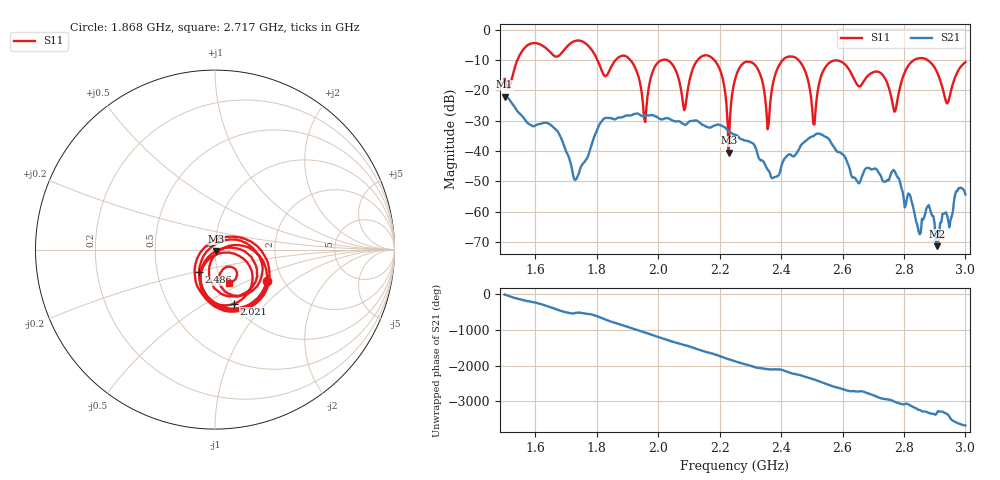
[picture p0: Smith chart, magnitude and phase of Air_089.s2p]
# HZ S RI R 50
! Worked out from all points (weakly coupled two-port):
!   404 points, 1.5 GHz to 3 GHz, reference 50 ohm
!   highest |S21| = -22.09 dB at 1.5 GHz (marker M1); lowest = -71.3 dB at 2.907 GHz (marker M2)
!   lowest |S11| = -40.5 dB at 2.23 GHz (marker M3), VSWR 1.02, Z = 50.6 - j0.768 ohm
!   |S11| at or under -10 dB: 2.182 GHz to 2.406 GHz (224.2 MHz wide, 9.77 % of centre); 2.456 GHz to 2.834 GHz (377.5 MHz wide, 14.3 % of centre); 2.876 GHz to end of sweep (the widest 3 of 7)
!   S12 and S22 are empty: the file has one direction only
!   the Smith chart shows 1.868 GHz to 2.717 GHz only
!   S11 on the Smith chart (normalised r, x): 1.868 GHz: 1.66, -0.66; 2.021 GHz: 1.00, -0.68; 2.486 GHz: 0.81, -0.21; 2.717 GHz: 1.09, -0.42
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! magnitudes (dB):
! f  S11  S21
! 1.5 GHz  -16.3  -22.1
! 1.753 GHz  -3.9  -44.4
! 1.868 GHz  -9.3  -29.0
! 1.958 GHz  -30.5  -28.3
! 2.002 GHz  -10.6  -29.3
! 2.021 GHz  -9.9  -29.3
! 2.084 GHz  -26.6  -31.3
! 2.177 GHz  -9.5  -31.8
! 2.23 GHz  -40.5  -33.5
! 2.252 GHz  -15.8  -34.7
! 2.315 GHz  -11.7  -38.4
! 2.356 GHz  -32.8  -46.1
! 2.375 GHz  -17.2  -48.8
! 2.427 GHz  -8.9  -41.1
! 2.486 GHz  -16.2  -36.2
! 2.501 GHz  -26.0  -35.2
! 2.565 GHz  -10.5  -37.6
! 2.717 GHz  -14.0  -47.1
! 2.751 GHz  -19.1  -49.7
! 2.907 GHz  -13.9  -71.3
! 2.94 GHz  -24.3  -61.2
! 3 GHz  -10.7  -54.3
